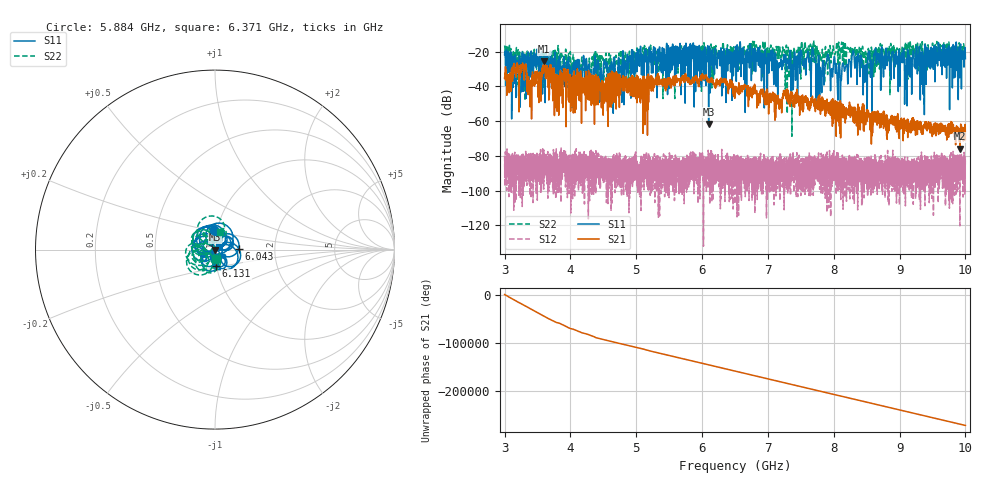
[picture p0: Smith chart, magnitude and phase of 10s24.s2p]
!Agilent Technologies,E8363B,MY43030572,A.06.04.32
!Agilent E8363B: A.06.04.32
!Date: Tuesday, June 07, 2011 09:29:30
!Correction: S11(Full 2 Port(1,2)) S21(Full 2 Port(1,2)) S12(Full 2 Port(1,2)) S22(Full 2 Port(1,2))
!S2P File: Measurements: S11, S21, S12, S22:
# Hz S  dB  R 50
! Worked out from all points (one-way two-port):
!   6401 points, 3 GHz to 10 GHz, reference 50 ohm
!   highest |S21| = -25.51 dB at 3.6 GHz (marker M1); lowest = -75.8 dB at 9.917 GHz (marker M2)
!   lowest |S11| = -61.6 dB at 6.1 GHz (marker M3), VSWR 1.00, Z = 50.1 - j0.0586 ohm
!   |S11| at or under -10 dB: start of sweep to end of sweep
!   |S22| runs from -68.7 to -13.6 dB; largest |S21 - S12| = 0.053
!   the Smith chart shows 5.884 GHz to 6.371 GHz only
!   S11 on the Smith chart (normalised r, x): 5.884 GHz: 0.96, +0.21; 6.043 GHz: 1.30, +0.01; 6.131 GHz: 0.99, -0.19; 6.371 GHz: 1.01, +0.20
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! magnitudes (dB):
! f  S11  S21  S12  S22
! 3 GHz  -21.8  -35.2  -79.9  -16.5
! 3.295 GHz  -22.1  -32.7  -89.7  -21.2
! 3.377 GHz  -25.3  -38.1  -82.1  -25.5
! 3.6 GHz  -24.3  -25.5  -85.2  -23.8
! 4.167 GHz  -29.7  -42.5  -82.8  -25.4
! 4.468 GHz  -29.7  -39.9  -90.4  -25.9
! 4.528 GHz  -26.0  -42.2  -89.0  -26.4
! 4.682 GHz  -34.3  -32.0  -83.8  -25.5
! 5.334 GHz  -19.5  -34.9  -95.7  -25.3
! 5.884 GHz  -19.3  -35.9  -84.9  -25.5
! 6.043 GHz  -17.6  -33.7  -88.9  -29.4
! 6.1 GHz  -61.6  -36.2  -90.6  -25.8
! 6.131 GHz  -20.7  -36.9  -85.5  -16.3
! 6.371 GHz  -19.9  -38.9  -93.6  -20.0
! 6.5 GHz  -23.0  -40.1  -84.4  -21.9
! 7.667 GHz  -21.4  -48.0  -87.4  -17.5
! 8.085 GHz  -26.8  -57.8  -94.1  -20.3
! 8.308 GHz  -22.1  -55.1  -87.0  -19.6
! 8.476 GHz  -32.2  -57.8  -88.6  -21.5
! 8.834 GHz  -20.1  -59.9  -81.3  -21.2
! 9.917 GHz  -25.3  -75.8  -85.0  -19.8
! 10 GHz  -24.1  -70.6  -82.7  -21.1
